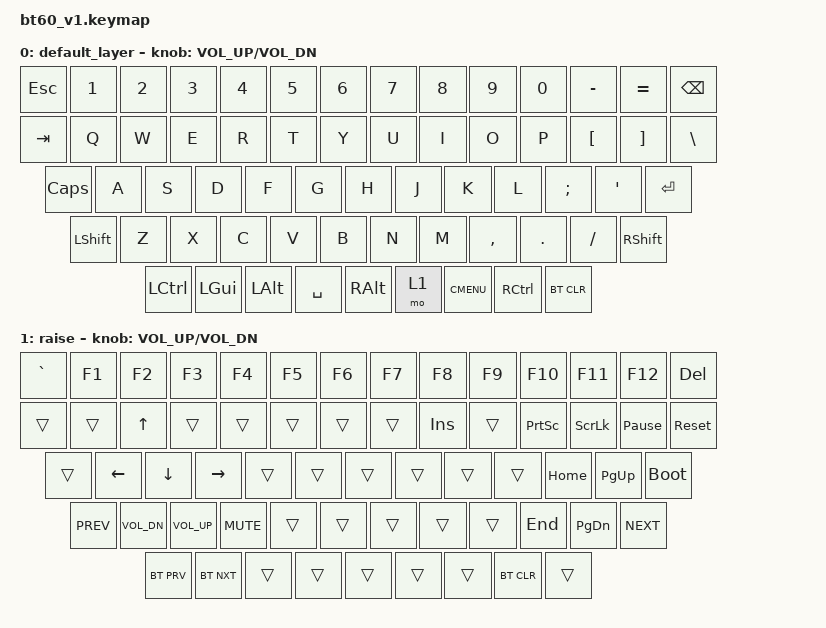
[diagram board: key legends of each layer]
#include <behaviors.dtsi>
#include <dt-bindings/zmk/keys.h>
#include <dt-bindings/zmk/bt.h>

#define ANSI
//#define HHKB
//#define ISO
//#define ALL_1U



/ {
    chosen {
    //#ifdef ANSI
        zmk,physical-layout = &layout_60_ansi;
    //#elif defined(ISO)
    //    zmk,physical-layout = &layout_60_iso;
    //#elif defined(ALL_1U)
    //    zmk,physical-layout = &layout_60_all1u;
    //#elif defined(HHKB)
    //    zmk,physical-layout = &layout_60_hhkb;
    #else
    #error "Layout not defined, please define a layout by uncommenting the appropriate line in bt60_v1.keymap"
    #endif
    };


    keymap {
        compatible = "zmk,keymap";
        #ifdef ANSI
         default_layer {
                // | ESC |F1 |F2 |F3 |F4 |F5 |F6 |F7 |F8 |F9 |F10 |F11 |F12 | Insert | Delete | Home | End  |
                // ------------------------------------------------------------------------------------------
                // | " |  1  |  2  |  3  |  4  |  5  |  6  |  7  |  8  |  9  |  0  |  -  |  =  |   BSPC     |
                // |  TAB  |  Q  |  W  |  E  |  R  |  T  |  Y  |  U  |  I  |  O  |  P  | `  |  {  |  ENTER  |
                // |  CAPS  |  A  |  S  |  D  |  F  |  G  |  H  |  J  |  K  |  L  |  Ç | ~  |  }  |  ENTER  |
                // |  SHIFT | \ |  Z  |  X  |  C  |  V  |  B  |  N  |  M  |  <  |  >  | ;   |  :   | SHIFT  |
                // |  CTL  |  WIN  |  ALT  |            SPACE              | ALT | ?  |PgUp|<-|^|v|->|PgDown|
                //                           |  LeftC | MiddleC | RightC |
                // ------------------------------------------------------------------------------------------
            bindings = <
                &kp ESC &kp N1 &kp N2 &kp N3 &kp N4 &kp N5 &kp N6 &kp N7 &kp  N8   &kp  N9 &kp  N0  &kp MINUS &kp EQUAL &kp BSPC
                &kp TAB  &kp Q  &kp W  &kp E  &kp R  &kp T  &kp Y  &kp U  &kp  I    &kp  O  &kp  P   &kp LBKT &kp RBKT  &kp BSLH
                &kp CLCK  &kp A  &kp S  &kp D  &kp F  &kp G  &kp H  &kp J  &kp  K    &kp  L  &kp SEMI &kp SQT           &kp RET
                &kp LSHFT  &kp Z  &kp X  &kp C  &kp V  &kp B  &kp N  &kp M  &kp COMMA &kp DOT &kp FSLH             &kp RSHFT
                &kp LCTRL &kp LGUI &kp LALT            &kp SPACE                          &kp RALT  &mo 1 &kp K_CMENU &kp RCTRL &bt BT_CLR
            >;
            sensor-bindings = <&inc_dec_kp C_VOL_UP C_VOL_DN>;
        };
        raise {
                // ------------------------------------------------------------------------------------------
                // |GRAVE| F1  | F2  | F3  | F4  | F5  | F6  | F7  | F8  | F9  | F10 | F11 | F12 |   DEL   |
                // | TAB  |  Q  | UP  |  E  |  R  |  T  |  Y  |  U  | INS |  O  |PSCRN|SLCK |PSEBRK| RESET |
                // | CAPS  |LEFT |DOWN |RIGHT|  F  |  G  |  H  |  J  |  K  |  L  |HOME |PGUP |  BOOTLOADER |
                // |   PREV  |VOLUP |VOLDN|MUTE |  V  |  B  |  N  |  M  |  ,  | END | PGDN |      NEXT     |
                // |  CTL  |  WIN  |  ALT  |            SPACE               | ALT | 1    |  MENU  | BT_CLR |
                // ------------------------------------------------------------------------------------------
            bindings = <
                &kp GRAVE &kp F1 &kp F2 &kp F3 &kp F4 &kp F5 &kp F6 &kp F7 &kp  F8   &kp  F9 &kp  F10  &kp F11 &kp F12   &kp DEL
                &trans &trans &kp UP &trans &trans &trans &trans &trans &kp INS &trans &kp PSCRN &kp SLCK &kp PAUSE_BREAK &sys_reset
                &trans    &kp LEFT &kp DOWN &kp RIGHT &trans &trans &trans &trans &trans &trans &kp HOME  &kp PG_UP   &bootloader
                &kp C_PREV &kp C_VOL_DN &kp C_VOL_UP &kp C_MUTE &trans &trans &trans &trans &trans &kp END &kp PG_DN  &kp C_NEXT
                &bt BT_PRV &bt BT_NXT  &trans              &trans                            &trans   &trans   &trans &bt BT_CLR &trans
            >;
            sensor-bindings = <&inc_dec_kp C_VOL_UP C_VOL_DN>;
        };
        #else
        #error "Layout not defined, please define a layout by uncommenting the appropriate line in bt60_v2.keymap"
        #endif
    };
};
